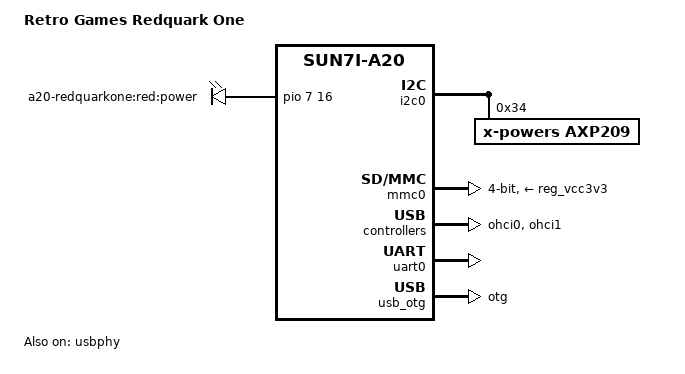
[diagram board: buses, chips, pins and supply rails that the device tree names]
/*
 * This is based on sun4i-a10-olinuxino-lime.dts
 *
 * Retro Computers Limited 2017
 */

/dts-v1/;
#include "sun7i-a20.dtsi"
#include "sunxi-common-regulators.dtsi"

#include <dt-bindings/gpio/gpio.h>
#include <dt-bindings/interrupt-controller/irq.h>
#include <dt-bindings/pinctrl/sun4i-a10.h>

/ {
	model = "Retro Games Redquark One";
	compatible = "retrogames,a20-redquarkone", "allwinner,sun7i-a20";

	aliases {
		serial0 = &uart0;
	};

	chosen {
		stdout-path = "serial0:115200n8";
	};

	leds {
		compatible = "gpio-leds";
		pinctrl-names = "default";
		pinctrl-0 = <&led_pins_redquarkone>;

		power {
			label = "a20-redquarkone:red:power";
			gpios = <&pio 7 16 GPIO_ACTIVE_HIGH>;
			default-state = "on";
		};
	};
};

&i2c0 {
	pinctrl-names = "default";
	pinctrl-0 = <&i2c0_pins_a>;
	status = "okay";

	axp209: pmic@34 {
		compatible = "x-powers,axp209";
		reg = <0x34>;
		interrupt-parent = <&nmi_intc>;
		interrupts = <0 IRQ_TYPE_LEVEL_LOW>;

		interrupt-controller;
		#interrupt-cells = <1>;
	};
};

&mmc0 {
	pinctrl-names = "default";
	pinctrl-0 = <&mmc0_pins_a>, <&mmc0_cd_pin_reference_design>;
	vmmc-supply = <&reg_vcc3v3>;
	bus-width = <4>;
    broken-cd;
	status = "okay";
};

&ohci0 {
	status = "okay";
};

&ohci1 {
	status = "okay";
};

&otg_sram {
	status = "okay";
};

&pio {
	led_pins_redquarkone: led_pins@0 {
		allwinner,pins = "PH16";
		allwinner,function = "gpio_out";
		allwinner,drive = <SUN4I_PINCTRL_20_MA>;
		allwinner,pull = <SUN4I_PINCTRL_NO_PULL>;
	};

	usb0_id_detect_pin: usb0_id_detect_pin@0 {
		allwinner,pins = "PH4";
		allwinner,function = "gpio_in";
		allwinner,drive = <SUN4I_PINCTRL_10_MA>;
		allwinner,pull = <SUN4I_PINCTRL_PULL_UP>;
	};
};

&uart0 {
	pinctrl-names = "default";
	pinctrl-0 = <&uart0_pins_a>;
	status = "okay";
};

&usb_otg {
	dr_mode = "otg";
	status = "okay";
};

&usbphy {
	pinctrl-names = "default";
	pinctrl-0 = <&usb0_id_detect_pin>;
	usb0_id_det-gpio = <&pio 7 4 GPIO_ACTIVE_HIGH>; /* PH4 */
    usb0_vbus-supply = <&reg_vcc5v0>; /* USB0 VBUS is always on */
    usb1_vbus-supply = <&reg_vcc5v0>; /* USB1 VBUS is always on */
    usb2_vbus-supply = <&reg_vcc5v0>; /* USB2 VBUS is always on */

	status = "okay";
};
